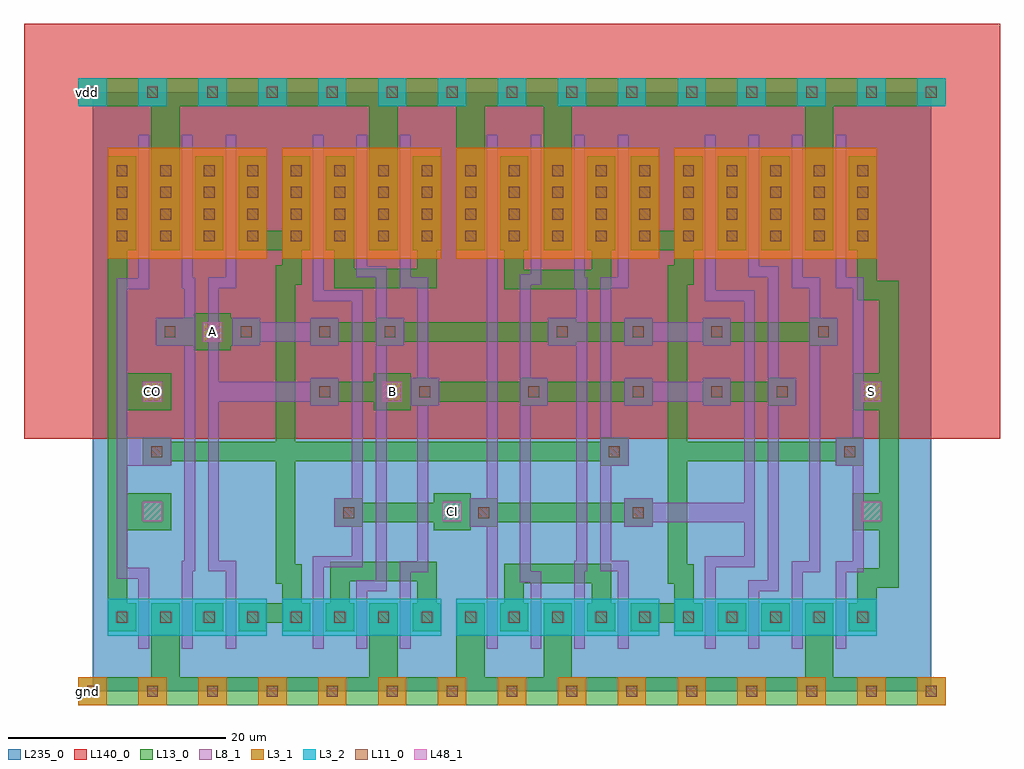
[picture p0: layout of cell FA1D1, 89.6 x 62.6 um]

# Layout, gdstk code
import gdstk
lib = gdstk.Library(unit=1e-6, precision=1e-09)
def R(c, l, rs):  # rectangles x0, y0, x1, y1
    for r in rs: c.add(gdstk.rectangle(r[:2], r[2:], *l))
def A(c, l, x, y, w, h, nx, ny, dx, dy):  # array of equal rectangles
    R(c, l, [(x+i*dx, y+j*dy, x+i*dx+w, y+j*dy+h) for i in range(nx) for j in range(ny)])
L3_1 = (3, 1)
L3_2 = (3, 2)
L8_1 = (8, 1)
L11_0 = (11, 0)
L13_0 = (13, 0)
L48_1 = (48, 1)
L140_0 = (140, 0)
L235_0 = (235, 0)

cont_n = lib.new_cell('cont_n')
R(cont_n, L3_2, [(-1.3,-1.3,1.3,1.3)])
R(cont_n, L11_0, [(-0.5,-0.5,0.5,0.5)])
R(cont_n, L13_0, [(-1.3,-1.3,1.3,1.3)])

cont_p = lib.new_cell('cont_p')
R(cont_p, L3_1, [(-1.3,-1.3,1.3,1.3)])
R(cont_p, L11_0, [(-0.5,-0.5,0.5,0.5)])
R(cont_p, L13_0, [(-1.3,-1.3,1.3,1.3)])

fet_n = lib.new_cell('fet_n')
R(fet_n, L3_2, [(-7.3,-1.7,7.3,1.7)])
A(fet_n, L11_0, -6.5, -0.5, 1, 1, 4, 1, 4, 0)
A(fet_n, L13_0, -7.3, -1.3, 2.6, 2.6, 4, 1, 4, 0)
fet_n.add(gdstk.FlexPath([(0,-2.9),(0,2.9)], 1, ends="flush", simple_path=True, layer=8, datatype=1))  # L8_1
fet_n.add(gdstk.FlexPath([(-4,-2.9),(-4,2.9)], 1, ends="flush", simple_path=True, layer=8, datatype=1))  # L8_1
fet_n.add(gdstk.FlexPath([(4,-2.9),(4,2.9)], 1, ends="flush", simple_path=True, layer=8, datatype=1))  # L8_1

cont_g = lib.new_cell('cont_g')
R(cont_g, L8_1, [(-1.3,-1.3,1.3,1.3)])
R(cont_g, L11_0, [(-0.5,-0.5,0.5,0.5)])
R(cont_g, L13_0, [(-1.3,-1.3,1.3,1.3)])

fet_p = lib.new_cell('fet_p')
R(fet_p, L3_1, [(-7.3,-5.1,7.3,5.1)])
A(fet_p, L11_0, -6.5, -3.5, 1, 1, 4, 4, 4, 2)
A(fet_p, L13_0, -7.3, -4.3, 2.6, 8.6, 4, 1, 4, 0)
fet_p.add(gdstk.FlexPath([(0,-6.3),(0,6.3)], 1, ends="flush", simple_path=True, layer=8, datatype=1))  # L8_1
fet_p.add(gdstk.FlexPath([(-4,-6.3),(-4,6.3)], 1, ends="flush", simple_path=True, layer=8, datatype=1))  # L8_1
fet_p.add(gdstk.FlexPath([(4,-6.3),(4,6.3)], 1, ends="flush", simple_path=True, layer=8, datatype=1))  # L8_1

fet_p_5 = lib.new_cell('fet_p$5')
R(fet_p_5, L3_1, [(-9.3,-5.1,9.3,5.1)])
A(fet_p_5, L11_0, -8.5, -3.5, 1, 1, 5, 4, 4, 2)
A(fet_p_5, L13_0, -9.3, -4.3, 2.6, 8.6, 5, 1, 4, 0)
fet_p_5.add(gdstk.FlexPath([(2,-6.3),(2,6.3)], 1, ends="flush", simple_path=True, layer=8, datatype=1))  # L8_1
fet_p_5.add(gdstk.FlexPath([(-2,-6.3),(-2,6.3)], 1, ends="flush", simple_path=True, layer=8, datatype=1))  # L8_1
fet_p_5.add(gdstk.FlexPath([(6,-6.3),(6,6.3)], 1, ends="flush", simple_path=True, layer=8, datatype=1))  # L8_1
fet_p_5.add(gdstk.FlexPath([(-6,-6.3),(-6,6.3)], 1, ends="flush", simple_path=True, layer=8, datatype=1))  # L8_1

fet_n_5 = lib.new_cell('fet_n$5')
R(fet_n_5, L3_2, [(-9.3,-1.7,9.3,1.7)])
A(fet_n_5, L11_0, -8.5, -0.5, 1, 1, 5, 1, 4, 0)
A(fet_n_5, L13_0, -9.3, -1.3, 2.6, 2.6, 5, 1, 4, 0)
fet_n_5.add(gdstk.FlexPath([(2,-2.9),(2,2.9)], 1, ends="flush", simple_path=True, layer=8, datatype=1))  # L8_1
fet_n_5.add(gdstk.FlexPath([(-2,-2.9),(-2,2.9)], 1, ends="flush", simple_path=True, layer=8, datatype=1))  # L8_1
fet_n_5.add(gdstk.FlexPath([(6,-2.9),(6,2.9)], 1, ends="flush", simple_path=True, layer=8, datatype=1))  # L8_1
fet_n_5.add(gdstk.FlexPath([(-6,-2.9),(-6,2.9)], 1, ends="flush", simple_path=True, layer=8, datatype=1))  # L8_1

fa1d1 = lib.new_cell('FA1D1')
R(fa1d1, L8_1, [(9.5,22,10.9,24.6)])
R(fa1d1, L13_0, [(9.5,16.1,10.1,19.5), (10.1,16.1,13.5,19.5), (10.1,16.1,13.5,19.5), (37.6,16.1,41,19.5), (37.6,16.1,41,19.5), (76.1,16.1,79.5,19.5), (76.1,16.1,79.5,19.5), (9.5,27.1,10.1,30.5), (10.1,27.1,13.5,30.5), (10.1,27.1,13.5,30.5), (32.1,27.1,35.5,30.5), (32.1,27.1,35.5,30.5), (76.1,27.1,79.5,30.5), (76.1,27.1,79.5,30.5), (15.6,32.6,19,36), (15.6,32.6,19,36), (14.7,33,19.1,35.6)])
R(fa1d1, L48_1, [(10.9,16.9,12.7,18.7), (10.9,16.9,12.7,18.7), (38.4,16.9,40.2,18.7), (38.4,16.9,40.2,18.7), (76.9,16.9,78.7,18.7), (76.9,16.9,78.7,18.7), (10.9,27.9,12.7,29.7), (10.9,27.9,12.7,29.7), (32.9,27.9,34.7,29.7), (32.9,27.9,34.7,29.7), (76.9,27.9,78.7,29.7), (76.9,27.9,78.7,29.7), (16.4,33.4,18.2,35.2), (16.4,33.4,18.2,35.2)])
R(fa1d1, L140_0, [(0,24.5,89.6,62.6)])
R(fa1d1, L235_0, [(6.3,1.3,83.3,56.3)])
fa1d1.add(gdstk.FlexPath([(15,39.8),(15,38.75),(15.2,38.75),(15.2,12.8),(15,12.8),(15,11)], 1, ends="extended", simple_path=True, layer=8, datatype=1))  # L8_1
fa1d1.add(gdstk.FlexPath([(19,39.8),(19,38.8),(17.4,38.8),(17.4,12.8),(19,12.8),(19,10.95)], 1, ends="extended", simple_path=True, layer=8, datatype=1))  # L8_1
fa1d1.add(gdstk.FlexPath([(27,39.8),(27,37.6),(30.6,37.6),(30.6,13.2),(27,13.2),(27,11)], 1, ends="extended", simple_path=True, layer=8, datatype=1))  # L8_1
fa1d1.add(gdstk.FlexPath([(31,39.8),(32.8,39.8),(32.8,11),(31,11)], 1, ends="extended", simple_path=True, layer=8, datatype=1))  # L8_1
fa1d1.add(gdstk.FlexPath([(55,39.8),(55,38.8),(53.4,38.8),(53.4,12.8),(55,12.8),(55,10.95)], 1, ends="extended", simple_path=True, layer=8, datatype=1))  # L8_1
fa1d1.add(gdstk.FlexPath([(63,39.8),(63,37.6),(66.6,37.6),(66.6,13.2),(63,13.2),(63,11)], 1, ends="extended", simple_path=True, layer=8, datatype=1))  # L8_1
fa1d1.add(gdstk.FlexPath([(67,39.8),(68.8,39.8),(68.8,11),(67,11)], 1, ends="extended", simple_path=True, layer=8, datatype=1))  # L8_1
fa1d1.add(gdstk.FlexPath([(71,39.8),(71,38.8),(72.6,38.8),(72.6,12.75),(71,12.75),(71,11)], 1, ends="extended", simple_path=True, layer=8, datatype=1))  # L8_1
fa1d1.add(gdstk.FlexPath([(75,39.8),(75,38.8),(76.6,38.8),(76.6,12.75),(75,12.75),(75,11)], 1, ends="extended", simple_path=True, layer=8, datatype=1))  # L8_1
fa1d1.add(gdstk.FlexPath([(51,39.8),(51,38.75),(51.2,38.75),(51.2,12.8),(51,12.8),(51,11)], 1, ends="extended", simple_path=True, layer=8, datatype=1))  # L8_1
fa1d1.add(gdstk.FlexPath([(20.4,34.3),(27.6,34.3)], 1.8, ends="extended", simple_path=True, layer=8, datatype=1))  # L8_1
fa1d1.add(gdstk.FlexPath([(27.6,28.8),(17.8,28.8)], 1.8, ends="extended", simple_path=True, layer=8, datatype=1))  # L8_1
fa1d1.add(gdstk.FlexPath([(56.4,34.3),(63.6,34.3)], 1.8, ends="extended", simple_path=True, layer=8, datatype=1))  # L8_1
fa1d1.add(gdstk.FlexPath([(56.4,28.8),(63.6,28.8)], 1.8, ends="extended", simple_path=True, layer=8, datatype=1))  # L8_1
fa1d1.add(gdstk.FlexPath([(43,39.8),(43,11)], 1, ends="extended", simple_path=True, layer=8, datatype=1))  # L8_1
fa1d1.add(gdstk.FlexPath([(47,39.8),(47,39.1),(46,39.1),(46,11.8),(47,11.8),(47,11)], 1, ends="extended", simple_path=True, layer=8, datatype=1))  # L8_1
fa1d1.add(gdstk.FlexPath([(56.4,17.7),(66.2,17.7)], 1.8, ends="extended", simple_path=True, layer=8, datatype=1))  # L8_1
fa1d1.add(gdstk.FlexPath([(35,39.8),(35,38.8),(36.6,38.8),(36.6,12.75),(35,12.75),(35,11)], 1, ends="extended", simple_path=True, layer=8, datatype=1))  # L8_1
fa1d1.add(gdstk.FlexPath([(11,39.8),(11,38.7),(9,38.7),(9,12.15),(11,12.15),(11,11)], 1, ends="extended", simple_path=True, layer=8, datatype=1))  # L8_1
fa1d1.add(gdstk.FlexPath([(24.6,43.05),(24.6,39.5),(24,39.5),(24,12.05),(24.6,12.05),(24.6,8.15)], 1.8, ends="extended", simple_path=True, layer=13, datatype=0))  # L13_0
fa1d1.add(gdstk.FlexPath([(21,42.7),(25,42.7)], 1.8, ends="extended", simple_path=True, layer=13, datatype=0))  # L13_0
fa1d1.add(gdstk.FlexPath([(21,8.5),(25,8.5)], 1.8, ends="extended", simple_path=True, layer=13, datatype=0))  # L13_0
fa1d1.add(gdstk.FlexPath([(41,49.1),(41,56.3)], 2.6, ends="extended", simple_path=True, layer=13, datatype=0))  # L13_0
fa1d1.add(gdstk.FlexPath([(41,8.1),(41,1.3)], 2.6, ends="extended", simple_path=True, layer=13, datatype=0))  # L13_0
fa1d1.add(gdstk.FlexPath([(45,43),(45,39.1),(53,39.1),(53,43)], 1.8, ends="extended", simple_path=True, layer=13, datatype=0))  # L13_0
fa1d1.add(gdstk.FlexPath([(45,8.1),(45,12.1),(53,12.1),(53,8.1)], 1.8, ends="extended", simple_path=True, layer=13, datatype=0))  # L13_0
fa1d1.add(gdstk.FlexPath([(57,42.7),(61,42.7)], 1.8, ends="extended", simple_path=True, layer=13, datatype=0))  # L13_0
fa1d1.add(gdstk.FlexPath([(60.6,43.1),(60.6,39.5),(60,39.5),(60,12.05),(60.6,12.05),(60.6,8.1)], 1.8, ends="extended", simple_path=True, layer=13, datatype=0))  # L13_0
fa1d1.add(gdstk.FlexPath([(57,8.5),(61,8.5)], 1.8, ends="extended", simple_path=True, layer=13, datatype=0))  # L13_0
fa1d1.add(gdstk.FlexPath([(77.4,43.1),(77.4,38.1),(79.4,38.1),(79.4,11.7),(77.4,11.7),(77.4,8.1)], 1.8, ends="extended", simple_path=True, layer=13, datatype=0))  # L13_0
fa1d1.add(gdstk.FlexPath([(73,49.1),(73,56.3)], 2.6, ends="extended", simple_path=True, layer=13, datatype=0))  # L13_0
fa1d1.add(gdstk.FlexPath([(73,8.1),(73,1.3)], 2.6, ends="extended", simple_path=True, layer=13, datatype=0))  # L13_0
fa1d1.add(gdstk.FlexPath([(12.2,23.3),(54.2,23.3)], 1.8, ends="extended", simple_path=True, layer=13, datatype=0))  # L13_0
fa1d1.add(gdstk.FlexPath([(75.8,23.3),(60,23.3)], 1.8, ends="extended", simple_path=True, layer=13, datatype=0))  # L13_0
fa1d1.add(gdstk.FlexPath([(49,49.1),(49,56.3)], 2.6, ends="extended", simple_path=True, layer=13, datatype=0))  # L13_0
fa1d1.add(gdstk.FlexPath([(49,8.1),(49,1.3)], 2.6, ends="extended", simple_path=True, layer=13, datatype=0))  # L13_0
fa1d1.add(gdstk.FlexPath([(29.8,17.7),(56.4,17.7)], 1.8, ends="extended", simple_path=True, layer=13, datatype=0))  # L13_0
fa1d1.add(gdstk.FlexPath([(8.6,43.05),(8.6,8.1)], 1.8, ends="extended", simple_path=True, layer=13, datatype=0))  # L13_0
fa1d1.add(gdstk.FlexPath([(7.15,56.3),(83.3,56.3)], 2.6, ends="extended", simple_path=True, layer=13, datatype=0))  # L13_0
fa1d1.add(gdstk.FlexPath([(7.15,1.3),(83.3,1.3)], 2.6, ends="extended", simple_path=True, layer=13, datatype=0))  # L13_0
fa1d1.add(gdstk.FlexPath([(27.7,34.3),(56.4,34.3)], 1.8, ends="extended", simple_path=True, layer=13, datatype=0))  # L13_0
fa1d1.add(gdstk.FlexPath([(56.4,28.8),(27.6,28.8)], 1.8, ends="extended", simple_path=True, layer=13, datatype=0))  # L13_0
fa1d1.add(gdstk.FlexPath([(63.6,28.8),(69.6,28.8)], 1.8, ends="extended", simple_path=True, layer=13, datatype=0))  # L13_0
fa1d1.add(gdstk.FlexPath([(63.6,34.3),(73.4,34.3)], 1.8, ends="extended", simple_path=True, layer=13, datatype=0))  # L13_0
fa1d1.add(gdstk.FlexPath([(33,49.05),(33,56.3)], 2.6, ends="extended", simple_path=True, layer=13, datatype=0))  # L13_0
fa1d1.add(gdstk.FlexPath([(33,8.1),(33,1.3)], 2.6, ends="extended", simple_path=True, layer=13, datatype=0))  # L13_0
fa1d1.add(gdstk.FlexPath([(29.4,43.1),(29.4,39.2),(37,39.2),(37,43.1)], 1.8, ends="extended", simple_path=True, layer=13, datatype=0))  # L13_0
fa1d1.add(gdstk.FlexPath([(29,8.1),(29,12.3),(37,12.3),(37,8.2)], 1.8, ends="extended", simple_path=True, layer=13, datatype=0))  # L13_0
fa1d1.add(gdstk.FlexPath([(13,49.1),(13,56.3)], 2.6, ends="extended", simple_path=True, layer=13, datatype=0))  # L13_0
fa1d1.add(gdstk.FlexPath([(13,8.1),(13,1.3)], 2.6, ends="extended", simple_path=True, layer=13, datatype=0))  # L13_0
fa1d1.add(gdstk.Reference(cont_n, (6.3,56.3)))
fa1d1.add(gdstk.Reference(cont_n, (11.8,56.3)))
fa1d1.add(gdstk.Reference(cont_n, (17.3,56.3)))
fa1d1.add(gdstk.Reference(cont_n, (22.8,56.3)))
fa1d1.add(gdstk.Reference(cont_p, (6.3,1.3)))
fa1d1.add(gdstk.Reference(cont_p, (11.8,1.3)))
fa1d1.add(gdstk.Reference(cont_p, (17.3,1.3)))
fa1d1.add(gdstk.Reference(cont_p, (22.8,1.3)))
fa1d1.add(gdstk.Reference(fet_n, (15,8.1)))
fa1d1.add(gdstk.Reference(cont_g, (69.6,28.8)))
fa1d1.add(gdstk.Reference(cont_g, (12.2,23.3)))
fa1d1.add(gdstk.Reference(cont_g, (36.8,28.8)))
fa1d1.add(gdstk.Reference(fet_p, (15,46.1)))
fa1d1.add(gdstk.Reference(fet_p, (31,46.1)))
fa1d1.add(gdstk.Reference(fet_n, (31,8.1)))
fa1d1.add(gdstk.Reference(cont_g, (13.4,34.3)))
fa1d1.add(gdstk.Reference(cont_g, (20.4,34.3)))
fa1d1.add(gdstk.Reference(cont_g, (29.8,17.7)))
fa1d1.add(gdstk.Reference(cont_g, (27.6,28.8)))
fa1d1.add(gdstk.Reference(cont_g, (33.6,34.3)))
fa1d1.add(gdstk.Reference(cont_g, (27.6,34.3)))
fa1d1.add(gdstk.Reference(fet_p_5, (49,46.1)))
fa1d1.add(gdstk.Reference(fet_n_5, (49,8.1)))
fa1d1.add(gdstk.Reference(cont_g, (56.4,28.8)))
fa1d1.add(gdstk.Reference(cont_g, (56.4,34.3)))
fa1d1.add(gdstk.Reference(cont_g, (63.6,28.8)))
fa1d1.add(gdstk.Reference(cont_g, (73.4,34.3)))
fa1d1.add(gdstk.Reference(cont_g, (63.6,34.3)))
fa1d1.add(gdstk.Reference(fet_n_5, (49,8.1)))
fa1d1.add(gdstk.Reference(fet_p_5, (49,46.1)))
fa1d1.add(gdstk.Reference(fet_n_5, (69,8.1)))
fa1d1.add(gdstk.Reference(fet_p_5, (69,46.1)))
fa1d1.add(gdstk.Reference(cont_n, (83.3,56.3)))
fa1d1.add(gdstk.Reference(cont_p, (83.3,1.3)))
fa1d1.add(gdstk.Reference(cont_g, (75.8,23.3)))
fa1d1.add(gdstk.Reference(cont_g, (49.4,34.3)))
fa1d1.add(gdstk.Reference(cont_g, (56.4,17.7)))
fa1d1.add(gdstk.Reference(cont_g, (42.2,17.7)))
fa1d1.add(gdstk.Reference(cont_g, (54.2,23.3)))
fa1d1.add(gdstk.Reference(cont_g, (46.8,28.8)))
fa1d1.add(gdstk.Reference(cont_n, (28.3,56.3)))
fa1d1.add(gdstk.Reference(cont_p, (28.3,1.3)))
fa1d1.add(gdstk.Reference(cont_n, (33.8,56.3)))
fa1d1.add(gdstk.Reference(cont_p, (33.8,1.3)))
fa1d1.add(gdstk.Reference(cont_n, (39.3,56.3)))
fa1d1.add(gdstk.Reference(cont_p, (39.3,1.3)))
fa1d1.add(gdstk.Reference(cont_n, (44.8,56.3)))
fa1d1.add(gdstk.Reference(cont_p, (44.8,1.3)))
fa1d1.add(gdstk.Reference(cont_n, (50.3,56.3)))
fa1d1.add(gdstk.Reference(cont_p, (50.3,1.3)))
fa1d1.add(gdstk.Reference(cont_n, (55.8,56.3)))
fa1d1.add(gdstk.Reference(cont_p, (55.8,1.3)))
fa1d1.add(gdstk.Reference(cont_n, (61.3,56.3)))
fa1d1.add(gdstk.Reference(cont_p, (61.3,1.3)))
fa1d1.add(gdstk.Reference(cont_n, (66.8,56.3)))
fa1d1.add(gdstk.Reference(cont_p, (66.8,1.3)))
fa1d1.add(gdstk.Reference(cont_n, (72.3,56.3)))
fa1d1.add(gdstk.Reference(cont_p, (72.3,1.3)))
fa1d1.add(gdstk.Reference(cont_n, (77.8,56.3)))
fa1d1.add(gdstk.Reference(cont_p, (77.8,1.3)))
fa1d1.add(gdstk.Label('B', (33.8,28.8), layer=48, texttype=0))
fa1d1.add(gdstk.Label('CO', (11.8,28.8), layer=48, texttype=0))
fa1d1.add(gdstk.Label('A', (17.3,34.3), layer=48, texttype=0))
fa1d1.add(gdstk.Label('CI', (39.3,17.8), layer=48, texttype=0))
fa1d1.add(gdstk.Label('S', (77.8,28.8), layer=48, texttype=0))
fa1d1.add(gdstk.Label('gnd', (5.8,1.3), layer=48, texttype=0))
fa1d1.add(gdstk.Label('vdd', (5.8,56.3), layer=48, texttype=0))

lib.write_gds('FA1D1.gds')
